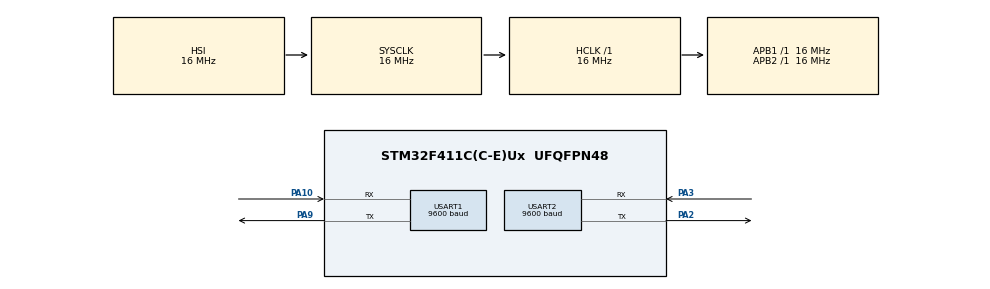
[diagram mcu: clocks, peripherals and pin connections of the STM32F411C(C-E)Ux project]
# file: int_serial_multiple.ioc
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Dma.Request0=USART1_RX
Dma.Request1=USART2_RX
Dma.USART1_RX.0.Direction=DMA_PERIPH_TO_MEMORY
Dma.USART1_RX.0.FIFOMode=DMA_FIFOMODE_DISABLE
Dma.USART1_RX.0.Instance=DMA2_Stream2
Dma.USART1_RX.0.MemDataAlignment=DMA_MDATAALIGN_BYTE
Dma.USART1_RX.0.MemInc=DMA_MINC_ENABLE
Dma.USART1_RX.0.Mode=DMA_NORMAL
Dma.USART1_RX.0.PeriphDataAlignment=DMA_PDATAALIGN_BYTE
Dma.USART1_RX.0.PeriphInc=DMA_PINC_DISABLE
Dma.USART1_RX.0.Priority=DMA_PRIORITY_LOW
Dma.USART2_RX.1.Direction=DMA_PERIPH_TO_MEMORY
Dma.USART2_RX.1.FIFOMode=DMA_FIFOMODE_DISABLE
Dma.USART2_RX.1.Instance=DMA1_Stream5
Dma.USART2_RX.1.MemDataAlignment=DMA_MDATAALIGN_BYTE
Dma.USART2_RX.1.MemInc=DMA_MINC_ENABLE
Dma.USART2_RX.1.Mode=DMA_NORMAL
Dma.USART2_RX.1.PeriphDataAlignment=DMA_PDATAALIGN_BYTE
Dma.USART2_RX.1.PeriphInc=DMA_PINC_DISABLE
Dma.USART2_RX.1.Priority=DMA_PRIORITY_LOW
Mcu.Family=STM32F4
Mcu.Name=STM32F411C(C-E)Ux
Mcu.Package=UFQFPN48
NVIC.DMA1_Stream5_IRQn=true\:0\:0\:false\:false\:true\:false\:true\:true
NVIC.DMA2_Stream2_IRQn=true\:0\:0\:false\:false\:true\:false\:true\:true
NVIC.PriorityGroup=NVIC_PRIORITYGROUP_4
NVIC.USART1_IRQn=true\:0\:0\:false\:false\:true\:true\:true\:true
NVIC.USART2_IRQn=true\:0\:0\:false\:false\:true\:true\:true\:true
PA10.Mode=Asynchronous
PA10.Signal=USART1_RX
PA2.Mode=Asynchronous
PA2.Signal=USART2_TX
PA3.Mode=Asynchronous
PA3.Signal=USART2_RX
PA9.Mode=Asynchronous
PA9.Signal=USART1_TX
ProjectManager.HeapSize=0x200
ProjectManager.StackSize=0x400
ProjectManager.TargetToolchain=STM32CubeIDE
RCC.AHBFreq_Value=16000000
RCC.APB1Freq_Value=16000000
RCC.APB2Freq_Value=16000000
RCC.CortexFreq_Value=16000000
RCC.HSE_VALUE=25000000
RCC.HSI_VALUE=16000000
RCC.LSE_VALUE=32768
RCC.SYSCLKFreq_VALUE=16000000
RCC.VCOOutputFreq_Value=192000000
USART1.BaudRate=9600
USART1.VirtualMode=VM_ASYNC
USART2.BaudRate=9600
USART2.VirtualMode=VM_ASYNC
board=custom

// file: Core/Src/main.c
/* USER CODE BEGIN Header */
/**
  ******************************************************************************
  * @file           : main.c
  * @brief          : Main program body
  ******************************************************************************
  * @attention
  *
  * Copyright (c) 2025 STMicroelectronics.
  * All rights reserved.
  *
  * This software is licensed under terms that can be found in the LICENSE file
  * in the root directory of this software component.
  * If no LICENSE file comes with this software, it is provided AS-IS.
  *
  ******************************************************************************
  */
/* USER CODE END Header */
#include "main.h"

/* USER CODE BEGIN Includes */
#include "uart.h"
#include "UARTRX.h"
#include "stdio.h"
#include "string.h"
/* USER CODE END Includes */

UART_HandleTypeDef huart1;
UART_HandleTypeDef huart2;
DMA_HandleTypeDef hdma_usart1_rx;
DMA_HandleTypeDef hdma_usart2_rx;

/* USER CODE BEGIN PV */
char texto[50];
/* USER CODE END PV */

void SystemClock_Config(void);
static void MX_GPIO_Init(void);
static void MX_DMA_Init(void);
static void MX_USART1_UART_Init(void);
static void MX_USART2_UART_Init(void);

int main(void)
{

  /* MCU Configuration--------------------------------------------------------*/

  /* Reset of all peripherals, Initializes the Flash interface and the Systick. */
  HAL_Init();

  /* Configure the system clock */
  SystemClock_Config();

  /* Initialize all configured peripherals */
  MX_GPIO_Init();
  MX_DMA_Init();
  MX_USART1_UART_Init();
  MX_USART2_UART_Init();
  /* USER CODE BEGIN 2 */
  uartx_write_text(&huart1, "INICIANDO1\r\n");
  uartx_write_text(&huart2, "INICIANDO2\r\n");

  uartRX_it_idle_dma_init( &UARTRX1);
  uartRX_it_idle_dma_init( &UARTRX2);

  /* USER CODE END 2 */

  /* Infinite loop */
  /* USER CODE BEGIN WHILE */
  while (1)
  {
	  if (UARTRX1.flag_rx==1)
	  	  {
	  	     uartx_write_text(&huart1, UARTRX1.trama_rx);
	  	    //  procesa_rx(); //procedimeinto donde se procesan los datos
	  		 sprintf(texto,"\r\nson=%u\r\n",UARTRX1.num_datos);
	  		 uartx_write_text(&huart1, texto);
	  	     uartRX_DMA_Re_init(&UARTRX1);
	  	  }

	  if (UARTRX2.flag_rx==1)
	 	  	  {
	 	  	     uartx_write_text(&huart1, UARTRX2.trama_rx);
	 	  	    //  procesa_rx(); //procedimeinto donde se procesan los datos
	 	  		 sprintf(texto,"\r\nson=%u\r\n",UARTRX2.num_datos);
	 	  		 uartx_write_text(&huart1, texto);
	 	  	     uartRX_DMA_Re_init(&UARTRX2);
	 	  	  }
    /* USER CODE END WHILE */

  }
}

void SystemClock_Config(void)
{
  RCC_OscInitTypeDef RCC_OscInitStruct = {0};
  RCC_ClkInitTypeDef RCC_ClkInitStruct = {0};

  /** Configure the main internal regulator output voltage
  */
  __HAL_RCC_PWR_CLK_ENABLE();
  __HAL_PWR_VOLTAGESCALING_CONFIG(PWR_REGULATOR_VOLTAGE_SCALE1);

  /** Initializes the RCC Oscillators according to the specified parameters
  * in the RCC_OscInitTypeDef structure.
  */
  RCC_OscInitStruct.OscillatorType = RCC_OSCILLATORTYPE_HSI;
  RCC_OscInitStruct.HSIState = RCC_HSI_ON;
  RCC_OscInitStruct.HSICalibrationValue = RCC_HSICALIBRATION_DEFAULT;
  RCC_OscInitStruct.PLL.PLLState = RCC_PLL_NONE;
  if (HAL_RCC_OscConfig(&RCC_OscInitStruct) != HAL_OK)
  {
    Error_Handler();
  }

  /** Initializes the CPU, AHB and APB buses clocks
  */
  RCC_ClkInitStruct.ClockType = RCC_CLOCKTYPE_HCLK|RCC_CLOCKTYPE_SYSCLK
                              |RCC_CLOCKTYPE_PCLK1|RCC_CLOCKTYPE_PCLK2;
  RCC_ClkInitStruct.SYSCLKSource = RCC_SYSCLKSOURCE_HSI;
  RCC_ClkInitStruct.AHBCLKDivider = RCC_SYSCLK_DIV1;
  RCC_ClkInitStruct.APB1CLKDivider = RCC_HCLK_DIV1;
  RCC_ClkInitStruct.APB2CLKDivider = RCC_HCLK_DIV1;

  if (HAL_RCC_ClockConfig(&RCC_ClkInitStruct, FLASH_LATENCY_0) != HAL_OK)
  {
    Error_Handler();
  }
}

static void MX_USART1_UART_Init(void)
{

  huart1.Instance = USART1;
  huart1.Init.BaudRate = 9600;
  huart1.Init.WordLength = UART_WORDLENGTH_8B;
  huart1.Init.StopBits = UART_STOPBITS_1;
  huart1.Init.Parity = UART_PARITY_NONE;
  huart1.Init.Mode = UART_MODE_TX_RX;
  huart1.Init.HwFlowCtl = UART_HWCONTROL_NONE;
  huart1.Init.OverSampling = UART_OVERSAMPLING_16;
  if (HAL_UART_Init(&huart1) != HAL_OK)
  {
    Error_Handler();
  }

}

static void MX_USART2_UART_Init(void)
{

  huart2.Instance = USART2;
  huart2.Init.BaudRate = 9600;
  huart2.Init.WordLength = UART_WORDLENGTH_8B;
  huart2.Init.StopBits = UART_STOPBITS_1;
  huart2.Init.Parity = UART_PARITY_NONE;
  huart2.Init.Mode = UART_MODE_TX_RX;
  huart2.Init.HwFlowCtl = UART_HWCONTROL_NONE;
  huart2.Init.OverSampling = UART_OVERSAMPLING_16;
  if (HAL_UART_Init(&huart2) != HAL_OK)
  {
    Error_Handler();
  }

}

static void MX_DMA_Init(void)
{

  /* DMA controller clock enable */
  __HAL_RCC_DMA2_CLK_ENABLE();
  __HAL_RCC_DMA1_CLK_ENABLE();

  /* DMA interrupt init */
  /* DMA1_Stream5_IRQn interrupt configuration */
  HAL_NVIC_SetPriority(DMA1_Stream5_IRQn, 0, 0);
  HAL_NVIC_EnableIRQ(DMA1_Stream5_IRQn);
  /* DMA2_Stream2_IRQn interrupt configuration */
  HAL_NVIC_SetPriority(DMA2_Stream2_IRQn, 0, 0);
  HAL_NVIC_EnableIRQ(DMA2_Stream2_IRQn);

}

static void MX_GPIO_Init(void)
{

  /* GPIO Ports Clock Enable */
  __HAL_RCC_GPIOA_CLK_ENABLE();

}

void Error_Handler(void)
{
  __disable_irq();
  while (1)
  {
  }
}
